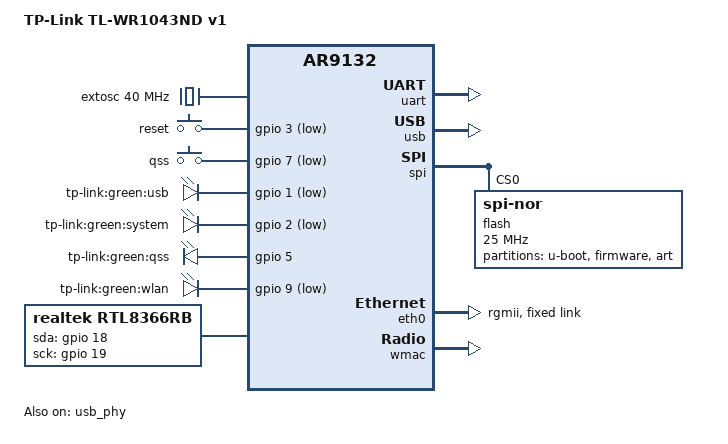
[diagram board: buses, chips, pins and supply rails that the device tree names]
// SPDX-License-Identifier: GPL-2.0
/dts-v1/;

#include <dt-bindings/gpio/gpio.h>
#include <dt-bindings/input/input.h>

#include "ar9132.dtsi"

/ {
	compatible = "tplink,tl-wr1043nd-v1", "qca,ar9132";
	model = "TP-Link TL-WR1043ND v1";

	aliases {
		led-boot = &led_system;
		led-failsafe = &led_system;
		led-running = &led_system;
		led-upgrade = &led_system;
		label-mac-device = &eth0;
	};

	extosc: ref {
		compatible = "fixed-clock";
		#clock-cells = <0>;
		clock-frequency = <40000000>;
	};

	keys {
		compatible = "gpio-keys";

		reset {
			label = "reset";
			linux,code = <KEY_RESTART>;
			gpios = <&gpio 3 GPIO_ACTIVE_LOW>;
			debounce-interval = <60>;
		};

		qss {
			label = "qss";
			linux,code = <KEY_WPS_BUTTON>;
			gpios = <&gpio 7 GPIO_ACTIVE_LOW>;
			debounce-interval = <60>;
		};
	};

	leds {
		compatible = "gpio-leds";

		usb {
			label = "tp-link:green:usb";
			gpios = <&gpio 1 GPIO_ACTIVE_LOW>;
			trigger-sources = <&hub_port>;
			linux,default-trigger = "usbport";
		};

		led_system: system {
			label = "tp-link:green:system";
			gpios = <&gpio 2 GPIO_ACTIVE_LOW>;
			linux,default-trigger = "heartbeat";
		};

		qss {
			label = "tp-link:green:qss";
			gpios = <&gpio 5 GPIO_ACTIVE_HIGH>;
		};

		wlan {
			label = "tp-link:green:wlan";
			gpios = <&gpio 9 GPIO_ACTIVE_LOW>;
			linux,default-trigger = "phy0tpt";
		};
	};

	rtl8366rb {
		compatible = "realtek,rtl8366rb";
		gpio-sda = <&gpio 18 GPIO_ACTIVE_HIGH>;
		gpio-sck = <&gpio 19 GPIO_ACTIVE_HIGH>;

		resets = <&rst 8>;
		reset-names = "switch";
	};
};

&uart {
	status = "okay";
};

&pll {
	clocks = <&extosc>;
};

&usb {
	#address-cells = <1>;
	#size-cells = <0>;
	status = "okay";

	hub_port: port@1 {
		reg = <1>;
		#trigger-source-cells = <0>;
	};
};

&usb_phy {
	status = "okay";
};

&spi {
	status = "okay";

	num-cs = <1>;

	flash@0 {
		compatible = "jedec,spi-nor";
		reg = <0>;
		spi-max-frequency = <25000000>;
		m25p,fast-read;

		partitions {
			compatible = "fixed-partitions";
			#address-cells = <1>;
			#size-cells = <1>;

			uboot: partition@0 {
				label = "u-boot";
				reg = <0x000000 0x020000>;
				read-only;
			};

			partition@20000 {
				compatible = "tplink,firmware";
				label = "firmware";
				reg = <0x020000 0x7D0000>;
			};

			art: partition@7F0000 {
				label = "art";
				reg = <0x7F0000 0x010000>;
				read-only;
			};
		};
	};
};

&eth0 {
	status = "okay";

	phy-mode = "rgmii";
	mtd-mac-address = <&uboot 0x1fc00>;

	fixed-link {
		speed = <1000>;
		full-duplex;
	};
};

&wmac {
	status = "okay";

	mtd-cal-data = <&art 0x1000>;
	mtd-mac-address = <&uboot 0x1fc00>;
};
